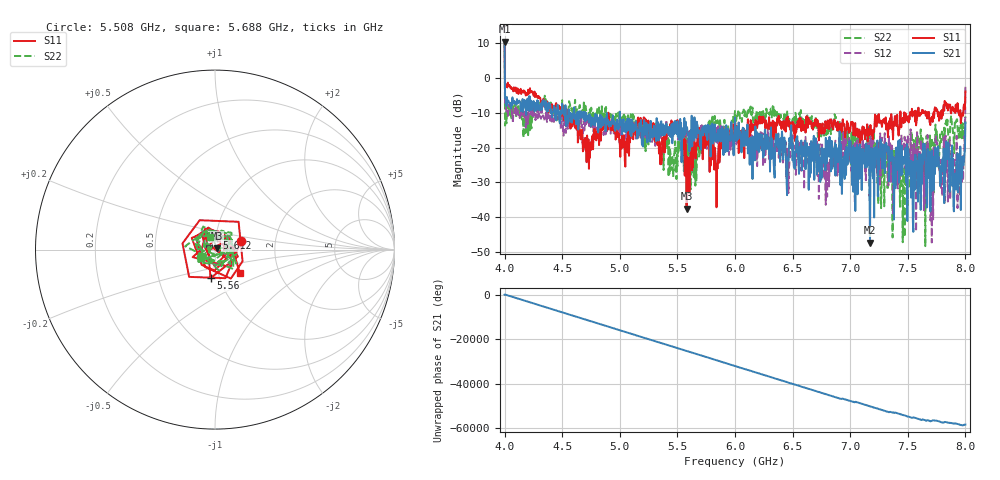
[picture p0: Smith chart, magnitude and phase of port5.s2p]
# Hz S RI R 50
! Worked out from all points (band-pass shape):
!   1001 points, 4 GHz to 8 GHz, reference 50 ohm
!   highest |S21| = 10.46 dB at 4 GHz (marker M1); lowest = -47.3 dB at 7.172 GHz (marker M2)
!   |S21| within 3 dB of the highest: start of sweep to 4.00077 GHz
!   lowest |S11| = -37.6 dB at 5.58 GHz (marker M3), VSWR 1.03, Z = 51.2 + j0.655 ohm
!   |S11| at or under -10 dB: 4.539 GHz to 4.9 GHz (360.5 MHz wide, 7.64 % of centre); 4.9 GHz to 7.436 GHz (2.535 GHz wide, 41.1 % of centre); 7.469 GHz to 7.52 GHz (51.06 MHz wide, 0.681 % of centre) (the widest 3 of 29)
!   |S22| runs from -48.4 to 10.8 dB; largest |S21 - S12| = 3.5
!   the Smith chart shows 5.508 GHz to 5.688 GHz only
!   S11 on the Smith chart (normalised r, x): 5.508 GHz: 1.34, +0.14; 5.56 GHz: 0.91, -0.29; 5.612 GHz: 1.01, +0.13; 5.688 GHz: 1.27, -0.35
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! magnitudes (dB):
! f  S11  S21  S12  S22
! 4 GHz  9.8  10.5  9.5  10.8
! 4.024 GHz  -2.7  -7.1  -9.7  -7.6
! 4.184 GHz  -5.0  -9.2  -14.2  -12.5
! 4.668 GHz  -17.3  -10.7  -14.0  -9.4
! 5.336 GHz  -15.5  -18.0  -14.6  -14.9
! 5.508 GHz  -16.2  -14.1  -17.6  -21.3
! 5.56 GHz  -15.9  -11.5  -14.2  -19.1
! 5.58 GHz  -37.6  -14.2  -14.3  -18.8
! 5.612 GHz  -23.7  -19.8  -15.7  -30.5
! 5.688 GHz  -14.3  -15.1  -14.6  -22.6
! 5.848 GHz  -26.1  -16.4  -18.7  -12.1
! 6 GHz  -12.4  -11.2  -17.1  -9.5
! 6.668 GHz  -14.4  -23.0  -19.4  -10.9
! 6.804 GHz  -12.2  -22.2  -23.8  -16.1
! 7.172 GHz  -15.5  -47.3  -26.1  -20.5
! 7.336 GHz  -14.5  -29.6  -16.5  -27.1
! 7.452 GHz  -11.9  -27.5  -20.7  -32.9
! 7.6 GHz  -10.0  -21.8  -22.0  -17.5
! 7.712 GHz  -11.1  -32.4  -25.9  -18.9
! 7.744 GHz  -8.6  -25.4  -16.8  -15.8
! 7.948 GHz  -10.8  -26.0  -33.8  -15.0
! 8 GHz  -3.9  -12.8  -2.5  -11.0
